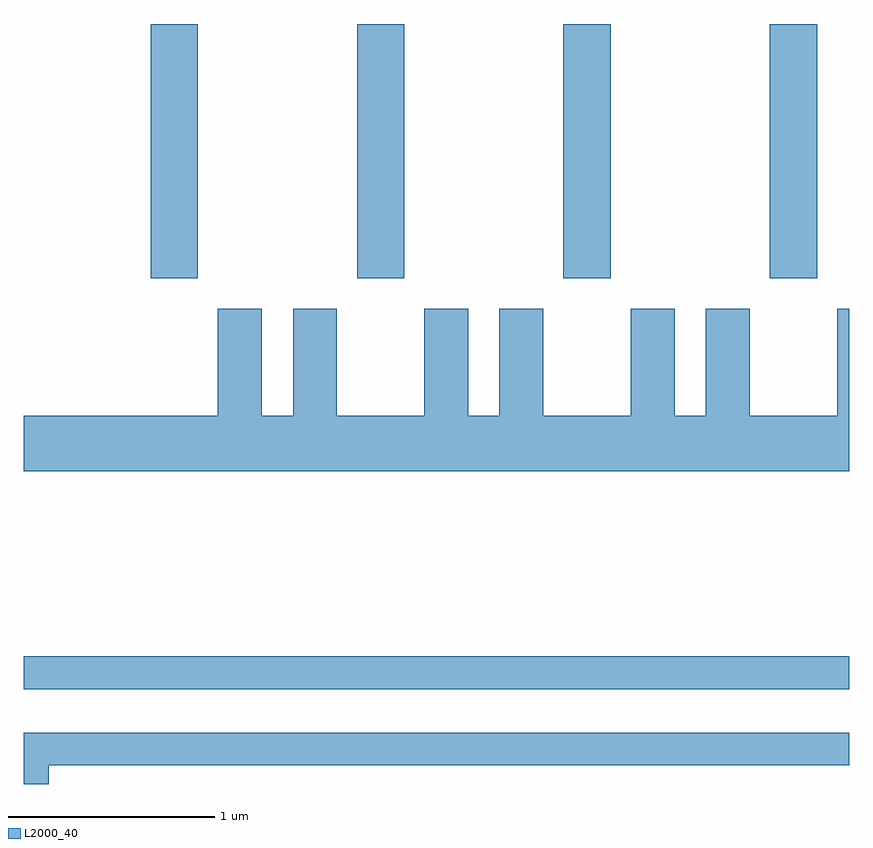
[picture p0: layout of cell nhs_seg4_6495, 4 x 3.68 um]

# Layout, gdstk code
import gdstk
lib = gdstk.Library(unit=1e-6, precision=1e-09)
def R(c, l, rs):  # rectangles x0, y0, x1, y1
    for r in rs: c.add(gdstk.rectangle(r[:2], r[2:], *l))
def A(c, l, x, y, w, h, nx, ny, dx, dy):  # array of equal rectangles
    R(c, l, [(x+i*dx, y+j*dy, x+i*dx+w, y+j*dy+h) for i in range(nx) for j in range(ny)])
def P(c, l, *ps):  # polygons
    for p in ps: c.add(gdstk.Polygon(p, *l))
L2000_40 = (2000, 40)

nhs_seg4_6495 = lib.new_cell('nhs_seg4_6495')
A(nhs_seg4_6495, L2000_40, 376.226, 1326.751, 0.228, 1.231, 4, 1, 1, 0)
R(nhs_seg4_6495, L2000_40, [(375.611,1324.761,379.611,1324.919)])
P(nhs_seg4_6495, L2000_40, [(379.611,1326.604),(379.551,1326.604),(379.551,1326.084),(379.129,1326.084),(379.129,1326.604),(378.916,1326.604),(378.916,1326.084),(378.764,1326.084),(378.764,1326.604),(378.551,1326.604),(378.551,1326.084),(378.129,1326.084),(378.129,1326.604),(377.916,1326.604),(377.916,1326.084),(377.764,1326.084),(377.764,1326.604),(377.551,1326.604),(377.551,1326.084),(377.129,1326.084),(377.129,1326.604),(376.916,1326.604),(376.916,1326.084),(376.764,1326.084),(376.764,1326.604),(376.551,1326.604),(376.551,1326.084),(375.611,1326.084),(375.611,1325.816),(379.611,1325.816)],
  [(375.734,1324.391),(379.611,1324.391),(379.611,1324.549),(375.611,1324.549),(375.611,1324.301),(375.734,1324.301)])

lib.write_gds('nhs_seg4_6495.gds')
